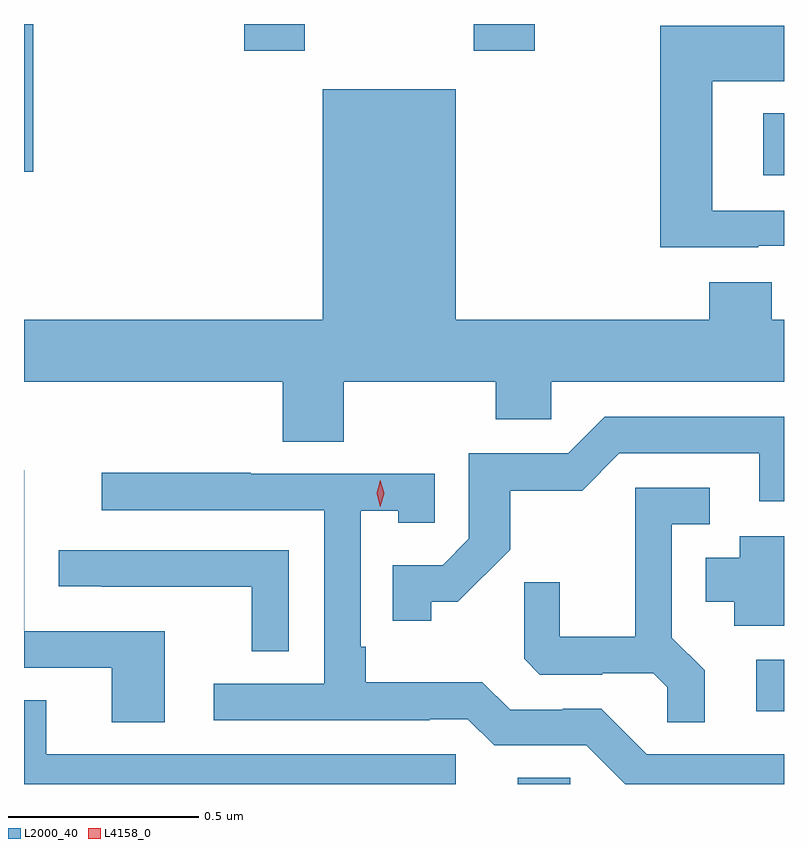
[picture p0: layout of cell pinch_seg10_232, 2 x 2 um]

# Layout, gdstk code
import gdstk
lib = gdstk.Library(unit=1e-6, precision=1e-09)
def R(c, l, rs):  # rectangles x0, y0, x1, y1
    for r in rs: c.add(gdstk.rectangle(r[:2], r[2:], *l))
def P(c, l, *ps):  # polygons
    for p in ps: c.add(gdstk.Polygon(p, *l))
L2000_40 = (2000, 40)
L4158_0 = (4158, 0)

pinch_seg10_232 = lib.new_cell('pinch_seg10_232')
R(pinch_seg10_232, L2000_40, [(627.623,1316.574,627.762,1316.591), (628.251,1316.765,628.324,1316.901), (628.269,1318.176,628.324,1318.339), (626.324,1318.185,626.348,1318.574), (626.903,1318.503,627.063,1318.574), (627.508,1318.503,627.668,1318.574)])
P(pinch_seg10_232, L2000_40, [(628.256,1317.99),(628.324,1317.99),(628.324,1318.083),(628.135,1318.083),(628.135,1318.424),(628.324,1318.424),(628.324,1318.57),(627.998,1318.57),(627.998,1317.987),(628.256,1317.987)],
  [(627.165,1317.632),(627.565,1317.632),(627.565,1317.534),(627.711,1317.534),(627.711,1317.632),(628.324,1317.632),(628.324,1317.796),(628.292,1317.796),(628.292,1317.895),(628.127,1317.895),(628.127,1317.796),(627.46,1317.796),(627.46,1318.402),(627.11,1318.402),(627.11,1317.796),(626.324,1317.796),(626.324,1317.632),(627.005,1317.632),(627.005,1317.475),(627.165,1317.475)],
  [(627.396,1317.053),(627.466,1317.053),(627.604,1317.19),(627.604,1317.346),(627.793,1317.346),(627.891,1317.444),(628.259,1317.444),(628.259,1317.318),(628.324,1317.318),(628.324,1317.54),(627.852,1317.54),(627.756,1317.444),(627.495,1317.444),(627.495,1317.219),(627.426,1317.15),(627.295,1317.15),(627.295,1317.003),(627.396,1317.003)],
  [(626.695,1316.976),(626.325,1316.976),(626.325,1317.4),(626.324,1317.4),(626.324,1316.88),(626.555,1316.88),(626.555,1316.737),(626.695,1316.737)],
  [(628.324,1316.652),(627.963,1316.652),(627.843,1316.772),(627.742,1316.772),(627.742,1316.769),(627.603,1316.769),(627.53,1316.842),(627.223,1316.842),(627.223,1316.935),(627.21,1316.935),(627.21,1317.293),(627.309,1317.293),(627.309,1317.261),(627.405,1317.261),(627.405,1317.39),(626.921,1317.39),(626.921,1317.393),(626.529,1317.393),(626.529,1317.294),(627.114,1317.294),(627.114,1316.838),(626.823,1316.838),(626.823,1316.742),(627.392,1316.742),(627.392,1316.745),(627.492,1316.745),(627.561,1316.676),(627.804,1316.676),(627.906,1316.574),(628.324,1316.574)],
  [(628.115,1316.873),(628.029,1316.959),(628.029,1317.258),(628.129,1317.258),(628.129,1317.354),(627.932,1317.354),(627.932,1316.962),(627.734,1316.962),(627.734,1317.105),(627.64,1317.105),(627.64,1316.903),(627.681,1316.862),(627.846,1316.862),(627.846,1316.865),(627.98,1316.865),(628.017,1316.828),(628.017,1316.737),(628.115,1316.737)],
  [(628.324,1317.226),(628.208,1317.226),(628.208,1317.169),(628.118,1317.169),(628.118,1317.053),(628.193,1317.053),(628.193,1316.99),(628.324,1316.99)],
  [(627.021,1317.189),(626.415,1317.189),(626.415,1317.094),(626.527,1317.094),(626.527,1317.093),(626.923,1317.093),(626.923,1316.923),(627.021,1316.923)],
  [(627.46,1316.652),(626.383,1316.652),(626.383,1316.795),(626.324,1316.795),(626.324,1316.574),(627.46,1316.574)])
P(pinch_seg10_232, L4158_0, [(627.262,1317.303),(627.262,1317.303),(627.252,1317.339),(627.262,1317.374),(627.262,1317.374),(627.262,1317.374),(627.272,1317.339),(627.262,1317.303)])

lib.write_gds('pinch_seg10_232.gds')
